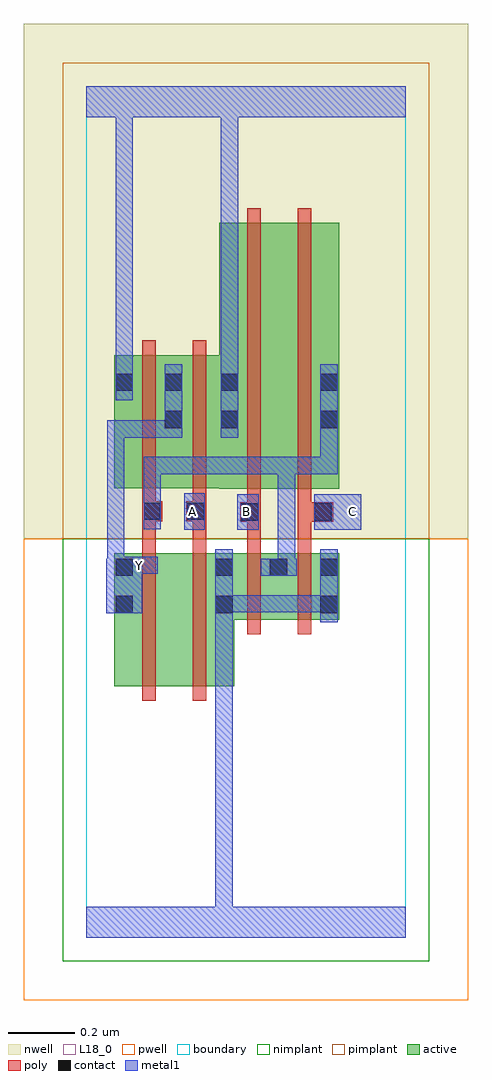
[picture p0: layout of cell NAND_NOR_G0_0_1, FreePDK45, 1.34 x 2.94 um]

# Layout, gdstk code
import gdstk
lib = gdstk.Library(unit=1e-6, precision=1e-09)
def R(c, l, rs):  # rectangles x0, y0, x1, y1
    for r in rs: c.add(gdstk.rectangle(r[:2], r[2:], *l))
active = (1, 0)
pwell = (2, 0)
nwell = (3, 0)
nimplant = (4, 0)
pimplant = (5, 0)
poly = (9, 0)
contact = (10, 0)
metal1 = (11, 0)
L18_0 = (18, 0)
boundary = (235, 0)

nand_nor_g0_0_1 = lib.new_cell('NAND_NOR_G0_0_1')
R(nand_nor_g0_0_1, active, [(0.084,0.756,0.144,1.156), (0.084,0.756,0.264,1.156), (0.264,0.756,0.444,1.156), (0.384,0.756,0.444,1.156), (0.384,0.956,0.608,1.156), (0.548,0.956,0.608,1.156), (0.548,0.956,0.76,1.156), (0.7,0.956,0.76,1.156), (0.4,1.35,0.58,2.15), (0.58,1.35,0.76,2.15), (0.7,1.35,0.76,2.044), (0.084,1.352,0.144,1.7), (0.084,1.352,0.292,1.752), (0.232,1.352,0.292,1.7), (0.232,1.352,0.46,1.752), (0.4,1.352,0.46,1.7)])
R(nand_nor_g0_0_1, pwell, [(-0.188,-0.188,1.148,1.2)])
R(nand_nor_g0_0_1, nwell, [(-0.188,1.2,1.148,2.748)])
R(nand_nor_g0_0_1, nimplant, [(-0.072,-0.072,1.032,1.2)])
R(nand_nor_g0_0_1, pimplant, [(-0.072,1.2,1.032,2.632)])
R(nand_nor_g0_0_1, poly, [(0.168,0.712,0.208,1.2), (0.32,0.712,0.36,1.2), (0.484,0.912,0.524,1.2), (0.636,0.912,0.676,1.2), (0.168,1.16,0.208,1.292), (0.32,1.16,0.36,1.292), (0.484,1.16,0.524,1.29), (0.636,1.16,0.676,1.29), (0.462,1.25,0.524,1.31), (0.636,1.25,0.742,1.31), (0.168,1.252,0.208,1.292), (0.168,1.252,0.208,1.292), (0.168,1.252,0.228,1.312), (0.3,1.252,0.36,1.312), (0.484,1.27,0.524,1.346), (0.484,1.27,0.524,1.31), (0.484,1.27,0.524,1.31), (0.636,1.27,0.676,1.346), (0.636,1.27,0.676,1.31), (0.636,1.27,0.676,1.31), (0.168,1.272,0.208,1.348), (0.32,1.272,0.36,1.348), (0.32,1.272,0.36,1.312), (0.32,1.272,0.36,1.312), (0.484,1.306,0.524,2.194), (0.636,1.306,0.676,2.194), (0.168,1.308,0.208,1.796), (0.32,1.308,0.36,1.796)])
R(nand_nor_g0_0_1, contact, [(0.088,0.976,0.14,1.028), (0.388,0.976,0.44,1.028), (0.704,0.976,0.756,1.028), (0.088,1.088,0.14,1.14), (0.388,1.088,0.44,1.14), (0.552,1.088,0.604,1.14), (0.704,1.088,0.756,1.14), (0.466,1.254,0.518,1.306), (0.686,1.254,0.738,1.306), (0.172,1.256,0.224,1.308), (0.304,1.256,0.356,1.308), (0.236,1.532,0.288,1.584), (0.404,1.532,0.456,1.584), (0.704,1.532,0.756,1.584), (0.088,1.644,0.14,1.696), (0.236,1.644,0.288,1.696), (0.404,1.644,0.456,1.696), (0.704,1.644,0.756,1.696)])
R(nand_nor_g0_0_1, metal1, [(0,0,0.96,0.092), (0.388,0.04,0.44,1), (0.388,0.948,0.44,1.168), (0.388,0.948,0.44,1), (0.388,0.948,0.44,1), (0.388,0.948,0.44,1), (0.388,0.948,0.44,1), (0.388,0.948,0.44,1), (0.388,0.948,0.44,1), (0.388,0.948,0.44,1), (0.388,0.948,0.44,1), (0.388,0.948,0.44,1), (0.388,0.948,0.44,1), (0.388,0.948,0.44,1), (0.388,0.948,0.44,1), (0.704,0.948,0.756,1.168), (0.06,0.976,0.168,1.14), (0.388,0.978,0.444,1.03), (0.392,0.978,0.444,1.03), (0.392,0.978,0.646,1.03), (0.594,0.978,0.646,1.03), (0.594,0.978,0.646,1.03), (0.594,0.978,0.646,1.03), (0.594,0.978,0.646,1.03), (0.594,0.978,0.646,1.03), (0.594,0.978,0.646,1.03), (0.594,0.978,0.646,1.03), (0.594,0.978,0.756,1.03), (0.062,1.088,0.114,1.146), (0.524,1.088,0.632,1.14), (0.576,1.088,0.628,1.14), (0.576,1.088,0.628,1.14), (0.576,1.088,0.628,1.446), (0.062,1.094,0.114,1.556), (0.062,1.094,0.214,1.146), (0.294,1.226,0.356,1.336), (0.454,1.226,0.518,1.334), (0.686,1.226,0.826,1.334), (0.172,1.228,0.224,1.336), (0.172,1.284,0.224,1.446), (0.172,1.284,0.224,1.336), (0.172,1.394,0.334,1.446), (0.282,1.394,0.334,1.446), (0.282,1.394,0.334,1.446), (0.282,1.394,0.334,1.446), (0.282,1.394,0.444,1.446), (0.392,1.394,0.444,1.446), (0.392,1.394,0.628,1.446), (0.576,1.394,0.756,1.446), (0.576,1.394,0.628,1.446), (0.576,1.394,0.628,1.446), (0.576,1.394,0.628,1.446), (0.704,1.394,0.756,1.556), (0.704,1.394,0.756,1.446), (0.062,1.504,0.114,1.556), (0.062,1.504,0.114,1.556), (0.062,1.504,0.114,1.556), (0.062,1.504,0.114,1.556), (0.062,1.504,0.114,1.556), (0.062,1.504,0.288,1.556), (0.236,1.504,0.288,1.724), (0.404,1.504,0.456,1.724), (0.704,1.504,0.756,1.724), (0.088,1.616,0.14,1.724), (0.088,1.672,0.14,1.724), (0.088,1.672,0.14,1.724), (0.088,1.672,0.14,1.724), (0.088,1.672,0.14,1.724), (0.088,1.672,0.14,1.724), (0.088,1.672,0.14,1.724), (0.088,1.672,0.14,2.52), (0.404,1.672,0.456,1.724), (0.404,1.672,0.456,1.724), (0.404,1.672,0.456,1.724), (0.404,1.672,0.456,1.724), (0.404,1.672,0.456,1.724), (0.404,1.672,0.456,1.724), (0.404,1.672,0.456,2.52), (0,2.468,0.96,2.56), (0.088,2.468,0.14,2.52), (0.088,2.468,0.14,2.52), (0.088,2.468,0.14,2.52), (0.088,2.468,0.14,2.52), (0.088,2.468,0.14,2.52), (0.088,2.468,0.14,2.52), (0.088,2.468,0.14,2.52), (0.088,2.468,0.14,2.52), (0.088,2.468,0.14,2.52), (0.088,2.468,0.14,2.52), (0.404,2.468,0.456,2.52), (0.404,2.468,0.456,2.52)])
R(nand_nor_g0_0_1, L18_0, [(0,0,0.96,0.092), (0.388,0.04,0.44,1), (0.388,0.948,0.44,1), (0.388,0.948,0.44,1), (0.388,0.948,0.44,1), (0.388,0.948,0.44,1), (0.388,0.948,0.44,1), (0.388,0.948,0.44,1), (0.388,0.948,0.44,1), (0.388,0.948,0.44,1), (0.388,0.948,0.44,1), (0.388,0.948,0.44,1), (0.388,0.948,0.44,1), (0.388,0.948,0.44,1), (0.388,0.948,0.44,1.168), (0.704,0.948,0.756,1.168), (0.06,0.976,0.168,1.14), (0.388,0.978,0.444,1.03), (0.392,0.978,0.444,1.03), (0.392,0.978,0.646,1.03), (0.594,0.978,0.646,1.03), (0.594,0.978,0.646,1.03), (0.594,0.978,0.646,1.03), (0.594,0.978,0.646,1.03), (0.594,0.978,0.646,1.03), (0.594,0.978,0.646,1.03), (0.594,0.978,0.646,1.03), (0.594,0.978,0.756,1.03), (0.062,1.088,0.114,1.146), (0.062,1.094,0.214,1.146), (0.062,1.094,0.114,1.556), (0.134,1.094,0.186,1.146), (0.294,1.226,0.356,1.336), (0.454,1.226,0.518,1.334), (0.686,1.226,0.826,1.334), (0.294,1.254,0.346,1.306), (0.454,1.254,0.506,1.306), (0.774,1.254,0.826,1.306), (0.062,1.504,0.114,1.556), (0.062,1.504,0.114,1.556), (0.062,1.504,0.114,1.556), (0.062,1.504,0.114,1.556), (0.062,1.504,0.114,1.556), (0.062,1.504,0.288,1.556), (0.236,1.504,0.288,1.724), (0.404,1.504,0.456,1.724), (0.088,1.616,0.14,1.724), (0.088,1.672,0.14,1.724), (0.088,1.672,0.14,1.724), (0.088,1.672,0.14,1.724), (0.088,1.672,0.14,1.724), (0.088,1.672,0.14,1.724), (0.088,1.672,0.14,1.724), (0.088,1.672,0.14,2.52), (0.404,1.672,0.456,1.724), (0.404,1.672,0.456,1.724), (0.404,1.672,0.456,1.724), (0.404,1.672,0.456,1.724), (0.404,1.672,0.456,1.724), (0.404,1.672,0.456,1.724), (0.404,1.672,0.456,2.52), (0,2.468,0.96,2.56), (0.088,2.468,0.14,2.52), (0.088,2.468,0.14,2.52), (0.088,2.468,0.14,2.52), (0.088,2.468,0.14,2.52), (0.088,2.468,0.14,2.52), (0.088,2.468,0.14,2.52), (0.088,2.468,0.14,2.52), (0.088,2.468,0.14,2.52), (0.088,2.468,0.14,2.52), (0.088,2.468,0.14,2.52), (0.404,2.468,0.456,2.52), (0.404,2.468,0.456,2.52)])
R(nand_nor_g0_0_1, boundary, [(0,0,0.96,2.56)])
nand_nor_g0_0_1.add(gdstk.Label('A', (0.32,1.28), layer=11, texttype=0))
nand_nor_g0_0_1.add(gdstk.Label('B', (0.48,1.28), layer=11, texttype=0))
nand_nor_g0_0_1.add(gdstk.Label('C', (0.8,1.28), layer=11, texttype=0))
nand_nor_g0_0_1.add(gdstk.Label('Y', (0.16,1.12), layer=11, texttype=0))

lib.write_gds('NAND_NOR_G0_0_1.gds')
